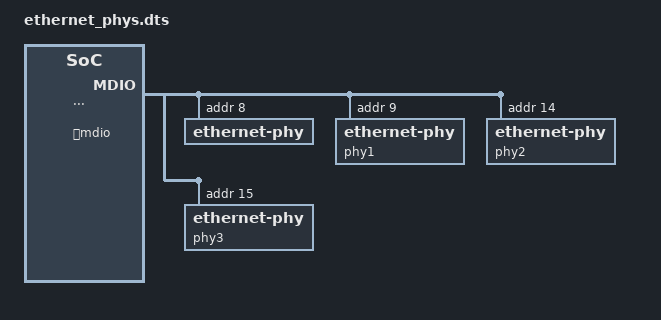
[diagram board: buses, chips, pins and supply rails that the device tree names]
ethernet@02188000 {

	...

	mdio {

		...

		phy0: ethernet-phy@8	 {
			reg = <0x8>;
			max-speed = <0x64>;
		};

		phy1: ethernet-phy@9 {
			reg = <0x9>;
			max-speed = <0x64>;
		};

		phy2: ethernet-phy@e {
			reg = <0xe>;
			max-speed = <0x64>;
		};

		phy3: ethernet-phy@f {
			reg = <0xf>;
			max-speed = <0x64>;
		};
	};
};
